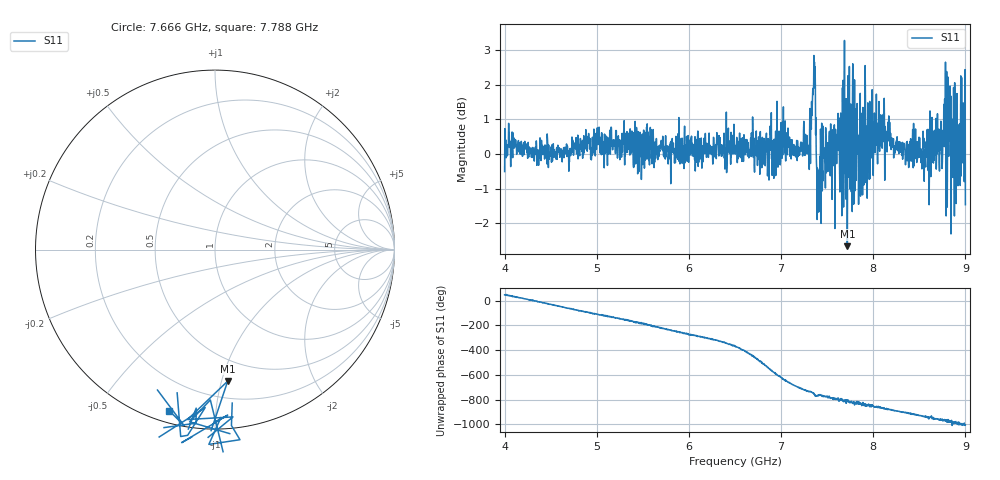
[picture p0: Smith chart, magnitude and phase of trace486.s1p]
! Created with skrf 1.8.0 (http://scikit-rf.org).
# Hz S RI R 50.0
!freq ReS11 ImS11
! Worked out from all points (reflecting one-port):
!   1601 points, 4 GHz to 9 GHz, reference 50 ohm
!   lowest |S11| = -2.7 dB at 7.719 GHz (marker M1), VSWR 6.57, Z = 16.4 - j52.3 ohm
!   phase of S11 starts at 48 deg and turns -1053 deg over the sweep
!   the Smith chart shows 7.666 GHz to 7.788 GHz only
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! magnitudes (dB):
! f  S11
! 4 GHz  -0.5
! 4.066 GHz  -0.4
! 4.625 GHz  -0.2
! 5.003 GHz  0.5
! 5.25 GHz  -0.2
! 5.875 GHz  0.0
! 6.5 GHz  0.1
! 6.922 GHz  -0.7
! 7.022 GHz  0.7
! 7.125 GHz  0.1
! 7.294 GHz  0.0
! 7.347 GHz  1.7
! 7.362 GHz  2.7
! 7.409 GHz  -1.7
! 7.481 GHz  -1.0
! 7.672 GHz  2.1
! 7.719 GHz  -2.7
! 7.75 GHz  -1.0
! 7.806 GHz  0.2
! 7.891 GHz  0.4
! 7.944 GHz  1.4
! 8.097 GHz  0.2
! 8.375 GHz  -0.1
! 8.728 GHz  0.1
! 8.791 GHz  -1.8
! 8.919 GHz  -0.9
! 8.972 GHz  0.7
! 9 GHz  -1.5
